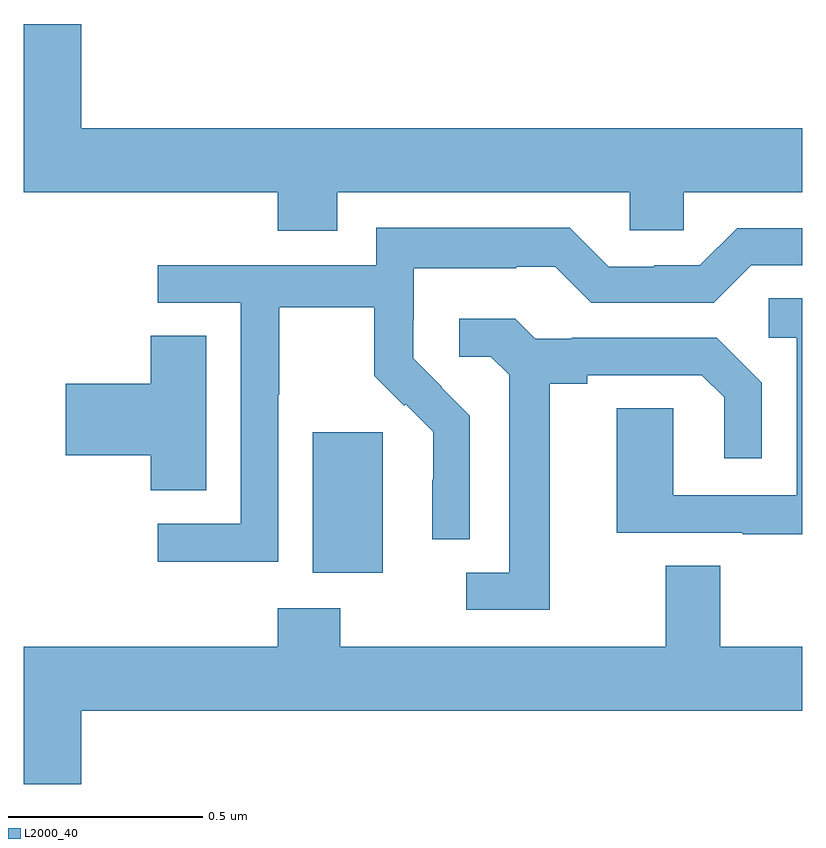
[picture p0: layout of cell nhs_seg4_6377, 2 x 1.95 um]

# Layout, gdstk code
import gdstk
lib = gdstk.Library(unit=1e-6, precision=1e-09)
def R(c, l, rs):  # rectangles x0, y0, x1, y1
    for r in rs: c.add(gdstk.rectangle(r[:2], r[2:], *l))
def P(c, l, *ps):  # polygons
    for p in ps: c.add(gdstk.Polygon(p, *l))
L2000_40 = (2000, 40)

nhs_seg4_6377 = lib.new_cell('nhs_seg4_6377')
R(nhs_seg4_6377, L2000_40, [(189.743,814.49,189.922,814.851)])
P(nhs_seg4_6377, L2000_40, [(189.805,815.468),(190.557,815.468),(190.557,815.37),(190.695,815.37),(190.695,815.468),(191,815.468),(191,815.632),(189.148,815.632),(189.148,815.9),(189,815.9),(189,815.468),(189.653,815.468),(189.653,815.369),(189.805,815.369)],
  [(189.654,814.948),(189.657,814.948),(189.657,815.172),(189.901,815.172),(189.901,814.997),(189.978,814.92),(189.981,814.923),(190.052,814.853),(190.052,814.73),(190.05,814.73),(190.05,814.576),(190.146,814.576),(190.146,814.894),(190.073,814.967),(190.074,814.968),(190,815.042),(190,815.139),(190.002,815.139),(190.002,815.273),(190.265,815.273),(190.265,815.277),(190.365,815.277),(190.458,815.184),(190.773,815.184),(190.869,815.28),(191,815.28),(191,815.376),(190.833,815.376),(190.737,815.28),(190.619,815.28),(190.619,815.277),(190.503,815.277),(190.403,815.377),(189.906,815.377),(189.906,815.28),(189.345,815.28),(189.345,815.184),(189.558,815.184),(189.558,814.617),(189.345,814.617),(189.345,814.519),(189.654,814.519)],
  [(191,815.195),(190.914,815.195),(190.914,815.094),(190.986,815.094),(190.986,814.689),(190.668,814.689),(190.668,814.913),(190.523,814.913),(190.523,814.593),(190.847,814.593),(190.847,814.589),(191,814.589)],
  [(190.351,814.976),(190.447,814.976),(190.447,814.998),(190.742,814.998),(190.799,814.941),(190.799,814.785),(190.896,814.785),(190.896,814.978),(190.78,815.094),(190.408,815.094),(190.408,815.091),(190.314,815.091),(190.262,815.143),(190.119,815.143),(190.119,815.046),(190.2,815.046),(190.247,814.999),(190.247,814.491),(190.137,814.491),(190.137,814.395),(190.351,814.395)],
  [(189.469,815.099),(189.326,815.099),(189.326,814.976),(189.108,814.976),(189.108,814.793),(189.326,814.793),(189.326,814.702),(189.469,814.702)],
  [(189.148,814.136),(191,814.136),(191,814.3),(190.789,814.3),(190.789,814.508),(190.649,814.508),(190.649,814.3),(189.813,814.3),(189.813,814.399),(189.653,814.399),(189.653,814.3),(189,814.3),(189,813.948),(189.148,813.948)])

lib.write_gds('nhs_seg4_6377.gds')
